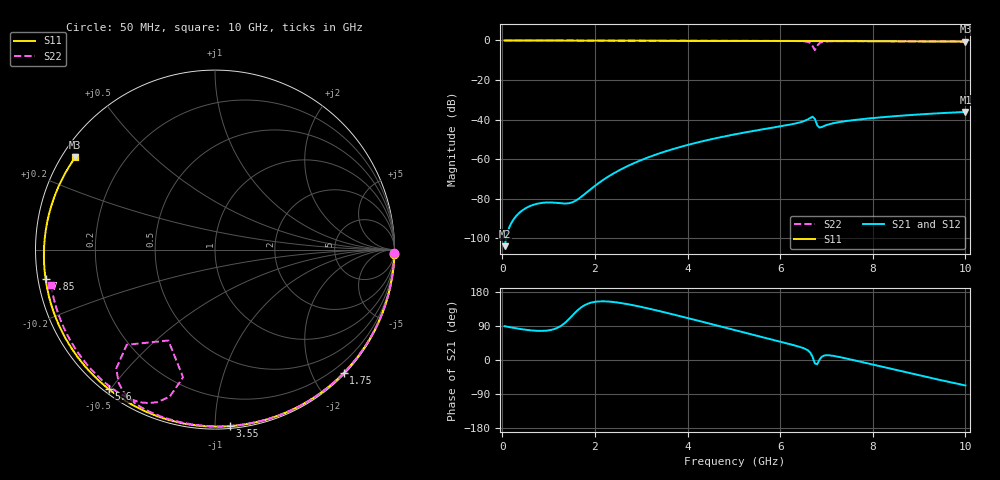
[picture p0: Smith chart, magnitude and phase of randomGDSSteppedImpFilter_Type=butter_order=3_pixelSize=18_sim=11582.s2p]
! freq	dB(S11)	phase(S11)	dB(S12)	phase(S12)
!  dB(S21)	phase(S21)	dB(S22)	phase(S22)
!S-par simulation data
#  GHz  S  DB  R 50
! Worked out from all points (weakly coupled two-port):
!   200 points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, 50 MHz to 10 GHz, reference 50 ohm
!   highest |S21| = -36.13 dB at 10 GHz (marker M1); lowest = -104.0 dB at 50 MHz (marker M2)
!   lowest |S11| = -0.6 dB at 10 GHz (marker M3), VSWR 28.87, Z = 1.89 + j15 ohm
!   |S11| at or under -10 dB: nowhere
!   |S22| runs from -4.9 to 0.0 dB; largest |S21 - S12| = 0
!   S11 on the Smith chart (normalised r, x): 50 MHz: 0, -89; 1.75 GHz: 0.02, -2.48; 3.55 GHz: 0.01, -1.09; 5.6 GHz: 0.01, -0.50; 7.85 GHz: 0.02, -0.09; 10 GHz: 0.04, +0.30
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0.05  -0.00 -1.3  -103.98 89.2  -103.98 89.2  -0.00 -1.0
0.8  -0.03 -20.4  -82.30 76.8  -82.30 76.8  -0.02 -15.5
1.65  -0.05 -41.4  -80.00 133.7  -80.00 133.7  -0.04 -31.7
1.75  -0.06 -43.9  -78.20 142.6  -78.20 142.6  -0.04 -33.6
2.5  -0.08 -61.6  -65.94 151.5  -65.94 151.5  -0.06 -47.5
3.4  -0.11 -81.9  -57.02 128.9  -57.02 128.9  -0.08 -63.7
3.55  -0.11 -85.2  -55.88 124.5  -55.88 124.5  -0.09 -66.4
5.05  -0.17 -116.3  -47.33 78.0  -47.33 78.0  -0.14 -92.1
5.6  -0.20 -127.1  -45.01 60.9  -45.01 60.9  -0.17 -101.4
6.45  -0.26 -143.5  -41.25 33.6  -41.25 33.6  -0.34 -118.8
6.6  -0.27 -146.3  -39.87 25.4  -39.87 25.4  -0.75 -125.7
6.65  -0.27 -147.3  -39.16 19.7  -39.16 19.7  -1.29 -129.7
6.7  -0.27 -148.2  -38.56 8.4  -38.56 8.4  -2.82 -132.8
6.75  -0.28 -149.2  -39.66 -9.2  -39.66 -9.2  -4.90 -117.1
6.8  -0.28 -150.1  -42.87 -11.2  -42.87 -11.2  -2.69 -104.0
6.85  -0.29 -151.1  -44.06 1.2  -44.06 1.2  -1.34 -107.1
6.95  -0.29 -153.0  -43.23 11.8  -43.23 11.8  -0.62 -113.3
7.25  -0.32 -158.7  -41.37 8.7  -41.37 8.7  -0.35 -122.3
7.85  -0.37 -170.1  -39.57 -7.9  -39.57 -7.9  -0.35 -133.2
8.35  -0.42 -179.8  -38.51 -22.2  -38.51 -22.2  -0.39 -141.3
9.2  -0.51 163.3  -37.11 -45.9  -37.11 -45.9  -0.48 -154.8
10  -0.60 146.6  -36.13 -67.2  -36.13 -67.2  -0.59 -167.8
